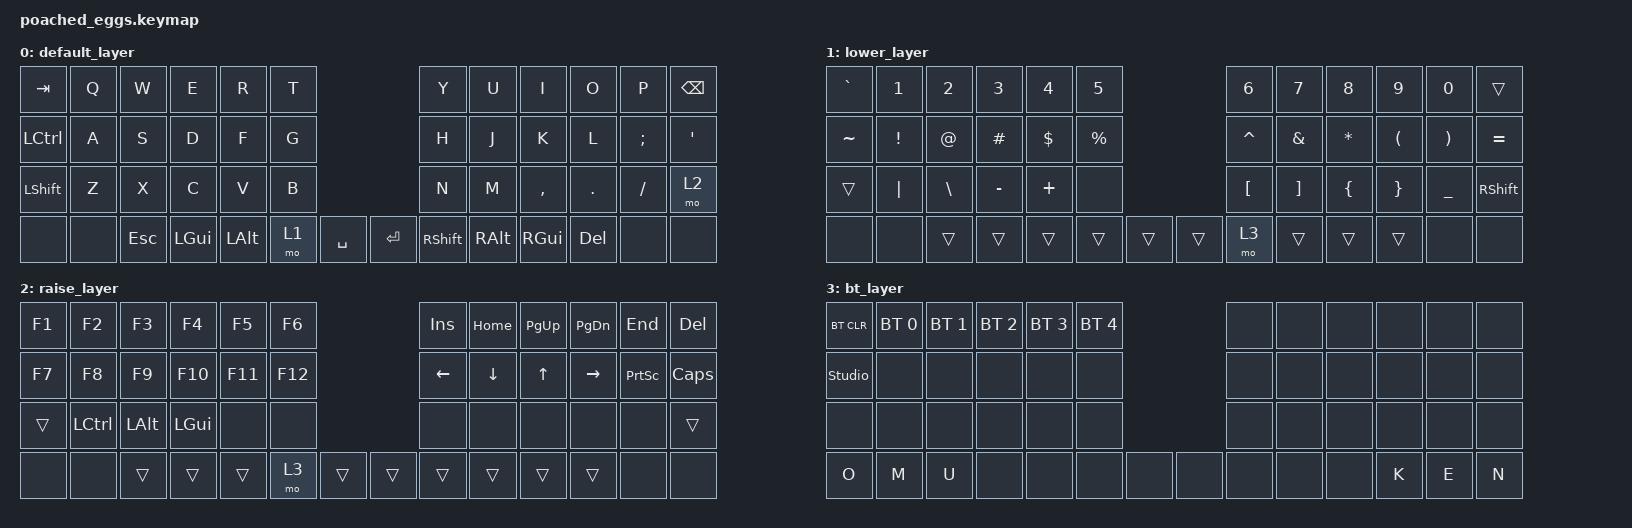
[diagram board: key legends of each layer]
#include <behaviors.dtsi>
#include <dt-bindings/zmk/bt.h>
#include <dt-bindings/zmk/keys.h>

/ {
    keymap {
        compatible = "zmk,keymap";

        default_layer {
            // HHKB-style: Ctrl on home row, Backspace at top-right, Fn at RShift pos
            // Outer row 3 keys: Esc (left), Del (right)
            // tmux:      LCtrl(pinky) + A(ring) -> release -> next key
            // paste:     LShift(pinky) + Fn(R pinky) + Ins(R index, layer 2)
            // powertoys: LGui(L thumb) + LShift(pinky) + key(R hand)
            bindings = <
&kp TAB    &kp Q  &kp W  &kp E     &kp R     &kp T                      &kp Y  &kp U     &kp I      &kp O    &kp P     &kp BSPC
&kp LCTRL  &kp A  &kp S  &kp D     &kp F     &kp G                      &kp H  &kp J     &kp K      &kp L    &kp SEMI  &kp SQT
&kp LSHFT  &kp Z  &kp X  &kp C     &kp V     &kp B                      &kp N  &kp M     &kp COMMA  &kp DOT  &kp FSLH  &mo 2
&none      &none  &kp ESC  &kp LGUI  &kp LALT  &mo 1  &kp SPACE  &kp RET  &kp RSHFT  &kp RALT  &kp RGUI  &kp DEL  &none     &none
            >;
        };

        lower_layer {
            // Row 0: grave + numbers, Row 1: tilde + shifted symbols
            // Row 2: remaining operators and brackets
            bindings = <
&kp GRAVE  &kp N1    &kp N2    &kp N3    &kp N4      &kp N5                       &kp N6     &kp N7    &kp N8     &kp N9    &kp N0     &trans
&kp TILDE  &kp EXCL  &kp AT    &kp HASH  &kp DOLLAR  &kp PRCNT                    &kp CARET  &kp AMPS  &kp ASTRK  &kp LPAR  &kp RPAR   &kp EQUAL
&trans     &kp PIPE  &kp BSLH  &kp MINUS &kp PLUS    &none                        &kp LBKT   &kp RBKT  &kp LBRC   &kp RBRC  &kp UNDER  &kp RSHFT
&none      &none     &trans    &trans    &trans       &trans     &trans    &trans   &mo 3      &trans    &trans     &trans    &none      &none
            >;
        };

        raise_layer {
            // HHKB Fn: F1-F12 left (aligned), nav cluster right (vim HJKL arrows)
            // Row 2 left: mods for Ctrl+Shift+Arrow, Ctrl+Home/End, etc.
            bindings = <
&kp F1   &kp F2     &kp F3    &kp F4    &kp F5   &kp F6                     &kp INS   &kp HOME  &kp PG_UP  &kp PG_DN  &kp END    &kp DEL
&kp F7   &kp F8     &kp F9    &kp F10   &kp F11  &kp F12                    &kp LEFT  &kp DOWN  &kp UP     &kp RIGHT  &kp PSCRN  &kp CAPS
&trans   &kp LCTRL  &kp LALT  &kp LGUI  &none    &none                      &none     &none     &none      &none      &none      &trans
&none    &none      &trans    &trans    &trans   &mo 3   &trans    &trans    &trans    &trans    &trans     &trans     &none      &none
            >;
        };

        bt_layer {
            bindings = <
&bt BT_CLR      &bt BT_SEL 0  &bt BT_SEL 1  &bt BT_SEL 2  &bt BT_SEL 3  &bt BT_SEL 4                &none  &none  &none  &none  &none  &none
&studio_unlock  &none         &none         &none         &none         &none                       &none  &none  &none  &none  &none  &none
&none           &none         &none         &none         &none         &none                       &none  &none  &none  &none  &none  &none
&kp O           &kp M         &kp U         &none         &none         &none         &none  &none  &none  &none  &none  &kp K  &kp E  &kp N
            >;
        };
    };
};
